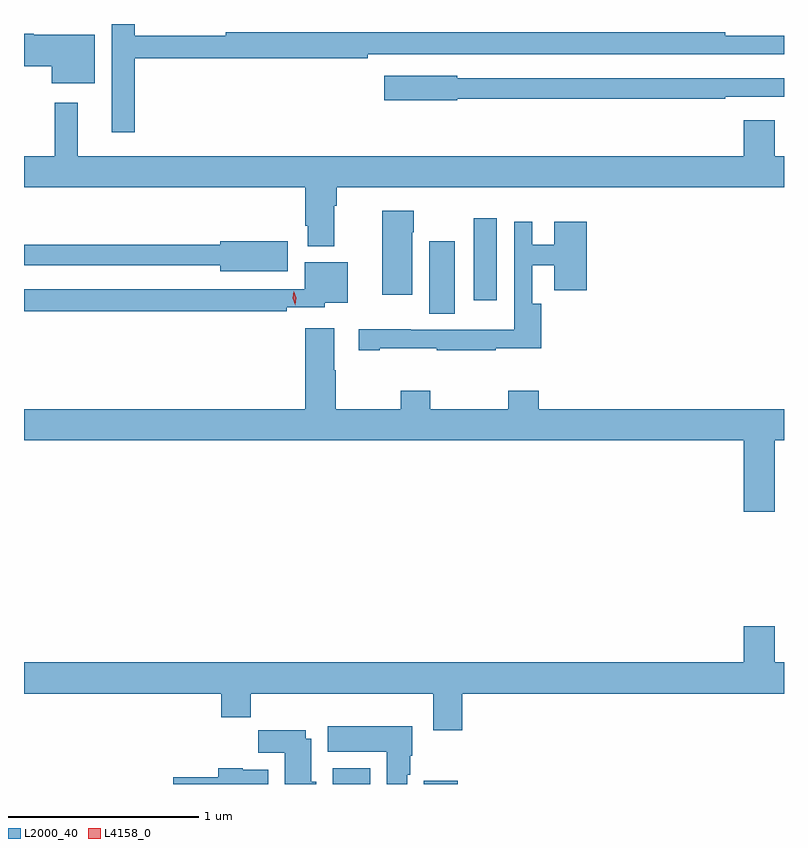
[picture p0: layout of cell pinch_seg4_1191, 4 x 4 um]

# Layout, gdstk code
import gdstk
lib = gdstk.Library(unit=1e-6, precision=1e-09)
def R(c, l, rs):  # rectangles x0, y0, x1, y1
    for r in rs: c.add(gdstk.rectangle(r[:2], r[2:], *l))
def P(c, l, *ps):  # polygons
    for p in ps: c.add(gdstk.Polygon(p, *l))
L2000_40 = (2000, 40)
L4158_0 = (4158, 0)

pinch_seg4_1191 = lib.new_cell('pinch_seg4_1191')
R(pinch_seg4_1191, L2000_40, [(366.641,789.684,366.838,789.766), (367.121,789.684,367.3,789.7), (367.148,792.16,367.282,792.541), (367.382,792.231,367.504,792.661)])
P(pinch_seg4_1191, L2000_40, [(365.599,793.504),(366.824,793.504),(366.824,793.524),(369.016,793.524),(369.016,793.621),(368.708,793.621),(368.708,793.64),(366.077,793.64),(366.077,793.621),(365.599,793.621),(365.599,793.684),(365.477,793.684),(365.477,793.113),(365.599,793.113)],
  [(365.389,793.627),(365.066,793.627),(365.066,793.634),(365.016,793.634),(365.016,793.462),(365.162,793.462),(365.162,793.373),(365.389,793.373)],
  [(367.296,793.29),(368.708,793.29),(368.708,793.302),(369.016,793.302),(369.016,793.398),(367.296,793.398),(367.296,793.411),(366.912,793.411),(366.912,793.282),(367.296,793.282)],
  [(366.649,792.728),(366.662,792.728),(366.662,792.824),(369.016,792.824),(369.016,792.988),(368.968,792.988),(368.968,793.177),(368.804,793.177),(368.804,792.988),(365.299,792.988),(365.299,793.27),(365.178,793.27),(365.178,792.988),(365.016,792.988),(365.016,792.824),(366.497,792.824),(366.497,792.622),(366.509,792.622),(366.509,792.515),(366.649,792.515)],
  [(367.06,792.587),(367.068,792.587),(367.068,792.7),(366.902,792.7),(366.902,792.258),(367.06,792.258)],
  [(366.889,791.977),(367.189,791.977),(367.189,791.967),(367.499,791.967),(367.499,791.977),(367.739,791.977),(367.739,792.211),(367.692,792.211),(367.692,792.413),(367.808,792.413),(367.808,792.282),(367.979,792.282),(367.979,792.643),(367.808,792.643),(367.808,792.523),(367.692,792.523),(367.692,792.643),(367.596,792.643),(367.596,792.076),(367.386,792.076),(367.386,792.075),(367.052,792.075),(367.052,792.077),(366.777,792.077),(366.777,791.967),(366.889,791.967)],
  [(366.403,792.541),(366.05,792.541),(366.05,792.523),(365.016,792.523),(365.016,792.414),(366.05,792.414),(366.05,792.383),(366.403,792.383)],
  [(366.398,792.192),(366.6,792.192),(366.6,792.218),(366.721,792.218),(366.721,792.43),(366.494,792.43),(366.494,792.288),(365.016,792.288),(365.016,792.172),(366.398,792.172)],
  [(368.968,791.492),(369.016,791.492),(369.016,791.656),(367.724,791.656),(367.724,791.755),(367.564,791.755),(367.564,791.656),(367.155,791.656),(367.155,791.755),(367,791.755),(367,791.656),(366.657,791.656),(366.657,791.861),(366.649,791.861),(366.649,792.082),(366.497,792.082),(366.497,791.656),(365.016,791.656),(365.016,791.492),(368.804,791.492),(368.804,791.118),(368.968,791.118)],
  [(367.322,790.16),(369.016,790.16),(369.016,790.324),(368.968,790.324),(368.968,790.513),(368.804,790.513),(368.804,790.324),(365.016,790.324),(365.016,790.16),(366.053,790.16),(366.053,790.036),(366.209,790.036),(366.209,790.16),(367.169,790.16),(367.169,789.966),(367.322,789.966)],
  [(367.033,789.734),(367.048,789.734),(367.048,789.834),(367.06,789.834),(367.06,789.988),(366.614,789.988),(366.614,789.854),(366.926,789.854),(366.926,789.684),(367.033,789.684)],
  [(366.553,789.696),(366.529,789.696),(366.529,789.922),(366.499,789.922),(366.499,789.967),(366.25,789.967),(366.25,789.848),(366.389,789.848),(366.389,789.684),(366.553,789.684)],
  [(366.301,789.76),(366.168,789.76),(366.168,789.766),(366.038,789.766),(366.038,789.72),(365.802,789.72),(365.802,789.684),(366.301,789.684)])
P(pinch_seg4_1191, L4158_0, [(366.444,792.205),(366.443,792.206),(366.43,792.24),(366.435,792.277),(366.436,792.277),(366.436,792.277),(366.449,792.242),(366.444,792.206)])

lib.write_gds('pinch_seg4_1191.gds')
